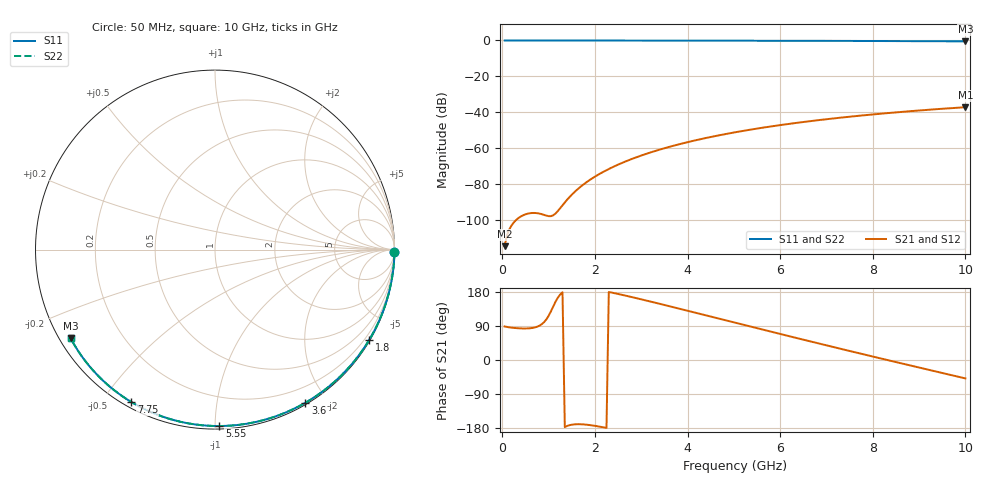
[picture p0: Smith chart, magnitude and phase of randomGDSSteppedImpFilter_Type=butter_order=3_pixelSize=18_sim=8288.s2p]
! freq	dB(S11)	phase(S11)	dB(S12)	phase(S12)
!  dB(S21)	phase(S21)	dB(S22)	phase(S22)
!S-par simulation data
#  GHz  S  DB  R 50
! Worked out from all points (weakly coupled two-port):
!   200 points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, 50 MHz to 10 GHz, reference 50 ohm
!   highest |S21| = -37.24 dB at 10 GHz (marker M1); lowest = -114.8 dB at 50 MHz (marker M2)
!   lowest |S11| = -0.5 dB at 10 GHz (marker M3), VSWR 34.67, Z = 1.56 - j14.1 ohm
!   |S11| at or under -10 dB: nowhere
!   |S22| runs from -0.5 to 0.0 dB; largest |S21 - S12| = 0
!   S11 on the Smith chart (normalised r, x): 50 MHz: open; 1.8 GHz: 0.03, -3.67; 3.6 GHz: 0.02, -1.75; 5.55 GHz: 0.02, -1.03; 7.75 GHz: 0.02, -0.59; 10 GHz: 0.03, -0.28
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0.05  -0.00 -0.9  -114.76 88.5  -114.76 88.5  -0.00 -0.9
0.45  -0.01 -7.8  -97.53 83.2  -97.53 83.2  -0.01 -7.7
0.9  -0.02 -15.4  -97.30 99.6  -97.30 99.6  -0.02 -15.4
1.3  -0.03 -22.2  -91.93 178.7  -91.93 178.7  -0.03 -22.2
1.75  -0.04 -29.7  -80.38 -169.9  -80.38 -169.9  -0.04 -29.7
1.8  -0.04 -30.5  -79.42 -170.5  -79.42 -170.5  -0.04 -30.5
1.95  -0.04 -33.0  -76.78 -172.7  -76.78 -172.7  -0.04 -33.0
2.1  -0.05 -35.5  -74.46 -175.7  -74.46 -175.7  -0.05 -35.5
2.3  -0.05 -38.7  -71.70 179.5  -71.70 179.5  -0.05 -38.7
2.5  -0.05 -42.0  -69.27 174.3  -69.27 174.3  -0.05 -42.0
2.9  -0.06 -48.4  -65.12 163.1  -65.12 163.1  -0.06 -48.4
3.4  -0.08 -56.4  -60.88 148.3  -60.88 148.3  -0.08 -56.4
3.6  -0.08 -59.5  -59.40 142.2  -59.40 142.2  -0.08 -59.5
4.3  -0.10 -70.2  -54.95 120.8  -54.95 120.8  -0.10 -70.2
5.05  -0.13 -81.3  -51.12 97.7  -51.12 97.7  -0.13 -81.3
5.55  -0.15 -88.6  -48.96 82.4  -48.96 82.4  -0.15 -88.6
6.1  -0.17 -96.3  -46.86 65.7  -46.86 65.7  -0.17 -96.3
6.7  -0.20 -104.6  -44.85 47.6  -44.85 47.6  -0.20 -104.6
7.75  -0.28 -118.8  -41.88 16.4  -41.88 16.4  -0.28 -118.8
8.35  -0.33 -126.7  -40.45 -1.1  -40.45 -1.1  -0.33 -126.7
9.2  -0.41 -137.9  -38.67 -25.7  -38.67 -25.7  -0.41 -137.9
10  -0.50 -148.4  -37.24 -48.6  -37.24 -48.6  -0.50 -148.4
